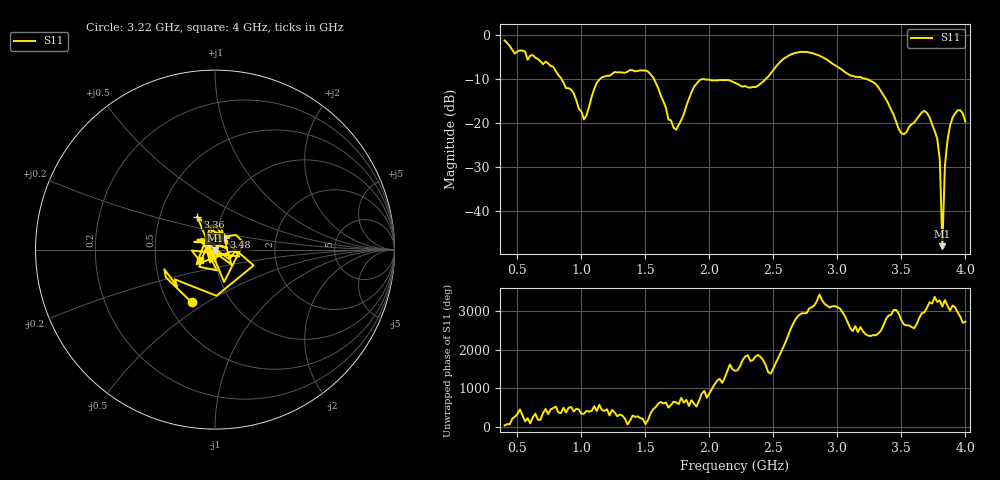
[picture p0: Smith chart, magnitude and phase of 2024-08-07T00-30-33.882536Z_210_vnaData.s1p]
!Created with skrf (http://scikit-rf.org).
# Hz S RI R 50.0
!freq ReS11 ImS11
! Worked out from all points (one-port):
!   181 points, 400 MHz to 4 GHz, reference 50 ohm
!   lowest |S11| = -47.9 dB at 3.82 GHz (marker M1), VSWR 1.01, Z = 49.9 - j0.375 ohm
!   |S11| at or under -10 dB: 1.568 GHz to 1.937 GHz (369 MHz wide, 21.1 % of centre); 1.966 GHz to 2.437 GHz (471.9 MHz wide, 21.4 % of centre); 3.234 GHz to end of sweep (the widest 3 of 4)
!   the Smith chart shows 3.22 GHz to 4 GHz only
!   S11 on the Smith chart (normalised r, x): 3.22 GHz: 0.66, -0.43; 3.36 GHz: 0.77, +0.30; 3.48 GHz: 1.09, +0.16; 4 GHz: 0.84, -0.10
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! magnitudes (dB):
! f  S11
! 400 MHz  -1.2
! 480 MHz  -4.2
! 780 MHz  -7.1
! 860 MHz  -10.7
! 1.02 GHz  -19.1
! 1.14 GHz  -10.1
! 1.3 GHz  -8.4
! 1.52 GHz  -8.2
! 1.68 GHz  -19.1
! 1.76 GHz  -20.4
! 1.92 GHz  -10.3
! 2.2 GHz  -10.8
! 2.36 GHz  -11.8
! 2.66 GHz  -4.1
! 2.86 GHz  -4.6
! 3.1 GHz  -9.1
! 3.22 GHz  -9.9
! 3.36 GHz  -13.6
! 3.48 GHz  -21.3
! 3.56 GHz  -20.8
! 3.68 GHz  -17.1
! 3.78 GHz  -23.5
! 3.8 GHz  -28.2
! 3.82 GHz  -47.9
! 3.84 GHz  -29.6
! 3.88 GHz  -20.5
! 3.94 GHz  -17.0
! 4 GHz  -19.6
